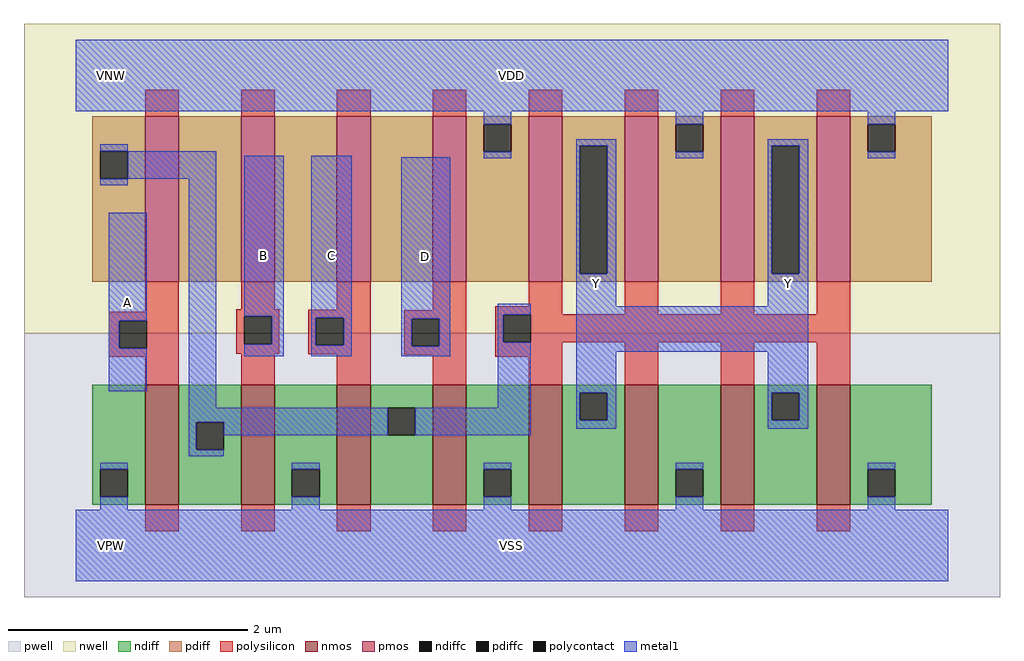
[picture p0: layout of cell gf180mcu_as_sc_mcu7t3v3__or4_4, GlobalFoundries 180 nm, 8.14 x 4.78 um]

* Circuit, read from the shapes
.subckt gf180mcu_as_sc_mcu7t3v3__or4_4 VDD VNW VPW VSS A B C D Y
XM1 n1 A VSS VPW nfet_03v3 w=1u l=0.28u
XM2 VSS B n1 VPW nfet_03v3 w=1u l=0.28u
XM3 n1 C VSS VPW nfet_03v3 w=1u l=0.28u
XM4 VSS D n1 VPW nfet_03v3 w=1u l=0.28u
XM5 Y n1 VSS VPW nfet_03v3 w=1u l=0.28u m=4
XM6 n2 A n1 VNW pfet_03v3 w=1.38u l=0.28u
XM7 n3 B n2 VNW pfet_03v3 w=1.38u l=0.28u
XM8 n4 C n3 VNW pfet_03v3 w=1.38u l=0.28u
XM9 VDD D n4 VNW pfet_03v3 w=1.38u l=0.28u
XM10 Y n1 VDD VNW pfet_03v3 w=1.38u l=0.28u m=4
.ends

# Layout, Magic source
magic
tech gf180mcuD
magscale 1 10
<< nwell >>
rect -86 354 1542 870
<< pwell >>
rect -86 -86 1542 354
<< nmos >>
rect 116 68 172 268
rect 276 68 332 268
rect 436 68 492 268
rect 596 68 652 268
rect 756 68 812 268
rect 916 68 972 268
rect 1076 68 1132 268
rect 1236 68 1292 268
<< pmos >>
rect 116 440 172 716
rect 276 440 332 716
rect 436 440 492 716
rect 596 440 652 716
rect 756 440 812 716
rect 916 440 972 716
rect 1076 440 1132 716
rect 1236 440 1292 716
<< ndiff >>
rect 28 127 116 268
rect 28 81 41 127
rect 87 81 116 127
rect 28 68 116 81
rect 172 206 276 268
rect 172 160 201 206
rect 247 160 276 206
rect 172 68 276 160
rect 332 127 436 268
rect 332 81 361 127
rect 407 81 436 127
rect 332 68 436 81
rect 492 230 596 268
rect 492 184 521 230
rect 567 184 596 230
rect 492 68 596 184
rect 652 127 756 268
rect 652 81 681 127
rect 727 81 756 127
rect 652 68 756 81
rect 812 255 916 268
rect 812 209 841 255
rect 887 209 916 255
rect 812 68 916 209
rect 972 127 1076 268
rect 972 81 1001 127
rect 1047 81 1076 127
rect 972 68 1076 81
rect 1132 255 1236 268
rect 1132 209 1161 255
rect 1207 209 1236 255
rect 1132 68 1236 209
rect 1292 127 1428 268
rect 1292 81 1321 127
rect 1367 81 1428 127
rect 1292 68 1428 81
<< pdiff >>
rect 28 658 116 716
rect 28 612 41 658
rect 87 612 116 658
rect 28 440 116 612
rect 172 440 276 716
rect 332 440 436 716
rect 492 440 596 716
rect 652 703 756 716
rect 652 657 681 703
rect 727 657 756 703
rect 652 440 756 657
rect 812 667 916 716
rect 812 453 841 667
rect 887 453 916 667
rect 812 440 916 453
rect 972 703 1076 716
rect 972 657 1001 703
rect 1047 657 1076 703
rect 972 440 1076 657
rect 1132 667 1236 716
rect 1132 453 1161 667
rect 1207 453 1236 667
rect 1132 440 1236 453
rect 1292 703 1428 716
rect 1292 657 1321 703
rect 1367 657 1428 703
rect 1292 440 1428 657
<< ndiffc >>
rect 41 81 87 127
rect 201 160 247 206
rect 361 81 407 127
rect 521 184 567 230
rect 681 81 727 127
rect 841 209 887 255
rect 1001 81 1047 127
rect 1161 209 1207 255
rect 1321 81 1367 127
<< pdiffc >>
rect 41 612 87 658
rect 681 657 727 703
rect 841 453 887 667
rect 1001 657 1047 703
rect 1161 453 1207 667
rect 1321 657 1367 703
<< polysilicon >>
rect 116 716 172 760
rect 276 716 332 760
rect 436 716 492 760
rect 596 716 652 760
rect 756 716 812 760
rect 916 716 972 760
rect 1076 716 1132 760
rect 1236 716 1292 760
rect 116 390 172 440
rect 276 394 332 440
rect 55 375 172 390
rect 55 329 73 375
rect 119 329 172 375
rect 55 315 172 329
rect 268 382 340 394
rect 436 393 492 440
rect 268 336 281 382
rect 327 336 340 382
rect 268 320 340 336
rect 388 380 492 393
rect 596 392 652 440
rect 756 399 812 440
rect 388 334 401 380
rect 447 334 492 380
rect 116 268 172 315
rect 276 268 332 320
rect 388 319 492 334
rect 436 268 492 319
rect 548 378 652 392
rect 548 332 561 378
rect 607 332 652 378
rect 548 318 652 332
rect 596 268 652 318
rect 700 386 812 399
rect 916 386 972 440
rect 1076 386 1132 440
rect 1236 386 1292 440
rect 700 385 1292 386
rect 700 339 713 385
rect 759 339 1292 385
rect 700 315 812 339
rect 756 268 812 315
rect 916 268 972 339
rect 1076 268 1132 339
rect 1236 268 1292 339
rect 116 24 172 68
rect 276 24 332 68
rect 436 24 492 68
rect 596 24 652 68
rect 756 24 812 68
rect 916 24 972 68
rect 1076 24 1132 68
rect 1236 24 1292 68
<< polycontact >>
rect 73 329 119 375
rect 281 336 327 382
rect 401 334 447 380
rect 561 332 607 378
rect 713 339 759 385
<< metal1 >>
rect 0 724 1456 844
rect 681 703 727 724
rect 41 658 87 669
rect 87 612 235 658
rect 1001 703 1047 724
rect 41 601 87 612
rect 55 375 119 555
rect 55 329 73 375
rect 55 257 119 329
rect 189 230 235 612
rect 281 382 347 650
rect 327 336 347 382
rect 281 316 347 336
rect 393 380 461 650
rect 393 334 401 380
rect 447 334 461 380
rect 393 316 461 334
rect 543 378 625 648
rect 681 646 727 657
rect 835 667 902 678
rect 835 453 841 667
rect 887 453 902 667
rect 1321 703 1367 724
rect 1001 646 1047 657
rect 1155 667 1222 678
rect 543 332 561 378
rect 607 332 625 378
rect 543 316 625 332
rect 704 385 759 403
rect 704 339 713 385
rect 704 230 759 339
rect 189 206 521 230
rect 189 160 201 206
rect 247 184 521 206
rect 567 184 759 230
rect 835 399 902 453
rect 1155 453 1161 667
rect 1207 453 1222 667
rect 1321 646 1367 657
rect 1155 399 1222 453
rect 835 323 1222 399
rect 835 255 902 323
rect 835 209 841 255
rect 887 209 902 255
rect 835 195 902 209
rect 1155 255 1222 323
rect 1155 209 1161 255
rect 1207 209 1222 255
rect 1155 195 1222 209
rect 189 149 247 160
rect 41 127 87 138
rect 41 60 87 81
rect 361 127 407 138
rect 361 60 407 81
rect 681 127 727 138
rect 681 60 727 81
rect 1001 127 1047 138
rect 1001 60 1047 81
rect 1321 127 1367 138
rect 1321 60 1367 81
rect 0 -60 1456 60
<< labels >>
flabel metal1 s 0 724 1456 844 0 FreeSans 400 0 0 0 VDD
port 1 nsew power bidirectional abutment
flabel metal1 s 0 -60 1456 60 0 FreeSans 400 0 0 0 VSS
port 4 nsew ground bidirectional abutment
flabel nwell s 10 734 110 834 0 FreeSans 400 0 0 0 VNW
port 2 nsew power bidirectional
flabel pwell s 10 -50 110 50 0 FreeSans 400 0 0 0 VPW
port 3 nsew ground bidirectional
flabel metal1 s 835 195 902 678 0 FreeSans 200 0 0 0 Y
port 9 nsew signal output
flabel metal1 s 55 257 119 555 0 FreeSans 200 0 0 0 A
port 5 nsew signal input
flabel metal1 s 281 316 347 650 0 FreeSans 200 0 0 0 B
port 6 nsew signal input
flabel metal1 s 393 316 461 650 0 FreeSans 200 0 0 0 C
port 7 nsew signal input
flabel metal1 s 543 316 625 648 0 FreeSans 200 0 0 0 D
port 8 nsew signal input
flabel metal1 1155 195 1222 678 0 FreeSans 200 0 0 0 Y
port 9 nsew signal output
<< properties >>
string FIXED_BBOX 0 0 1456 784
string LEFclass CORE
string LEFsite unithd
string LEFsymmetry X Y
string MASKHINTS_NPLUS -16 -46 1472 354
string MASKHINTS_PPLUS -16 354 1472 830
<< end >>
